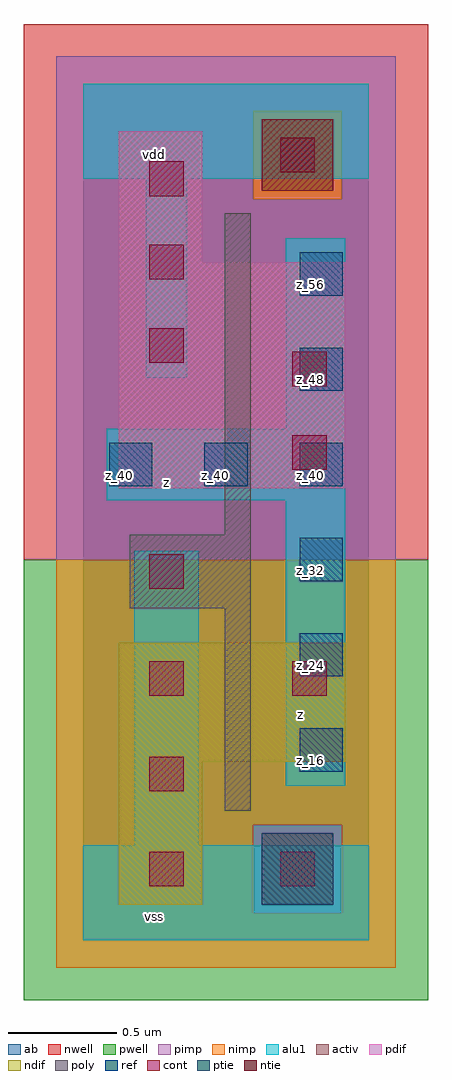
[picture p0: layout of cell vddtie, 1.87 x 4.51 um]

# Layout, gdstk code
import gdstk
lib = gdstk.Library(unit=1e-6, precision=2.5e-09)
def R(c, l, rs):  # rectangles x0, y0, x1, y1
    for r in rs: c.add(gdstk.rectangle(r[:2], r[2:], *l))
def A(c, l, x, y, w, h, nx, ny, dx, dy):  # array of equal rectangles
    R(c, l, [(x+i*dx, y+j*dy, x+i*dx+w, y+j*dy+h) for i in range(nx) for j in range(ny)])
ndif = (3, 0)
pdif = (4, 0)
ntie = (5, 0)
ptie = (6, 0)
ref = (24, 0)
cont = (25, 0)
pwell = (41, 0)
nwell = (42, 0)
activ = (43, 0)
pimp = (44, 0)
nimp = (45, 0)
poly = (46, 0)
alu1 = (49, 0)
ab = (63, 0)

vddtie = lib.new_cell('vddtie')
R(vddtie, ndif, [(0.165,0.165,0.55,0.825), (0.165,0.825,1.21,1.375)])
R(vddtie, pdif, [(0.165,2.09,1.21,3.135), (0.165,3.135,0.55,3.74)])
R(vddtie, ntie, [(0.825,3.465,1.155,3.795)])
R(vddtie, ptie, [(0.825,0.165,1.155,0.495)])
A(vddtie, ref, 1, 0.78, 0.2, 0.2, 1, 3, 0, 0.44)
A(vddtie, ref, 0.12, 2.1, 0.2, 0.2, 3, 1, 0.44, 0)
R(vddtie, ref, [(1,2.54,1.2,2.74), (1,2.98,1.2,3.18)])
A(vddtie, cont, 0.305, 0.25, 0.16, 0.16, 1, 3, 0, 0.44)
A(vddtie, cont, 0.305, 2.67, 0.16, 0.16, 1, 3, 0, 0.385)
R(vddtie, cont, [(0.91,0.25,1.07,0.41), (0.965,1.13,1.125,1.29), (0.305,1.625,0.465,1.785), (0.965,2.175,1.125,2.335), (0.965,2.56,1.125,2.72), (0.91,3.55,1.07,3.71)])
R(vddtie, pwell, [(-0.275,-0.275,1.595,1.76)])
R(vddtie, nwell, [(-0.275,1.76,1.595,4.235)])
R(vddtie, activ, [(0.165,0.165,0.55,0.825), (0.825,0.165,1.155,0.495), (0.165,0.825,1.21,1.375), (0.165,2.09,1.21,3.135), (0.165,3.135,0.55,3.74), (0.825,3.465,1.155,3.795)])
R(vddtie, pimp, [(0.785,0.125,1.195,0.535), (-0.125,1.76,1.445,3.425), (-0.125,3.425,0.785,3.835), (1.195,3.425,1.445,3.835), (-0.125,3.835,1.445,4.085)])
R(vddtie, nimp, [(-0.125,-0.125,1.445,0.125), (-0.125,0.125,0.785,0.535), (1.195,0.125,1.445,0.535), (-0.125,0.535,1.445,1.76), (0.785,3.425,1.195,3.835)])
R(vddtie, poly, [(0.655,0.6,0.775,1.535), (0.215,1.535,0.775,1.875), (0.655,1.875,0.775,3.36)])
R(vddtie, alu1, [(0,0,1.32,0.44), (0.235,0.44,0.535,1.8), (0.935,0.715,1.21,2.035), (0.11,2.035,1.21,2.365), (0.935,2.365,1.21,3.245), (0.29,2.6,0.48,3.52), (0,3.52,1.32,3.96)])
R(vddtie, ab, [(0,0,1.32,3.96)])
vddtie.add(gdstk.Label('vss', (0.33,0.11), layer=49, texttype=0))
vddtie.add(gdstk.Label('z', (1.0025,1.045), layer=49, texttype=0))
vddtie.add(gdstk.Label('z', (0.385,2.1175), layer=49, texttype=0))
vddtie.add(gdstk.Label('vdd', (0.33,3.63), layer=49, texttype=0))
vddtie.add(gdstk.Label('z_40', (0.61,2.15), layer=24, texttype=0))
vddtie.add(gdstk.Label('z_16', (1.05,0.83), layer=24, texttype=0))
vddtie.add(gdstk.Label('z_24', (1.05,1.27), layer=24, texttype=0))
vddtie.add(gdstk.Label('z_32', (1.05,1.71), layer=24, texttype=0))
vddtie.add(gdstk.Label('z_40', (1.05,2.15), layer=24, texttype=0))
vddtie.add(gdstk.Label('z_48', (1.05,2.59), layer=24, texttype=0))
vddtie.add(gdstk.Label('z_56', (1.05,3.03), layer=24, texttype=0))
vddtie.add(gdstk.Label('z_40', (0.17,2.15), layer=24, texttype=0))

lib.write_gds('vddtie.gds')
